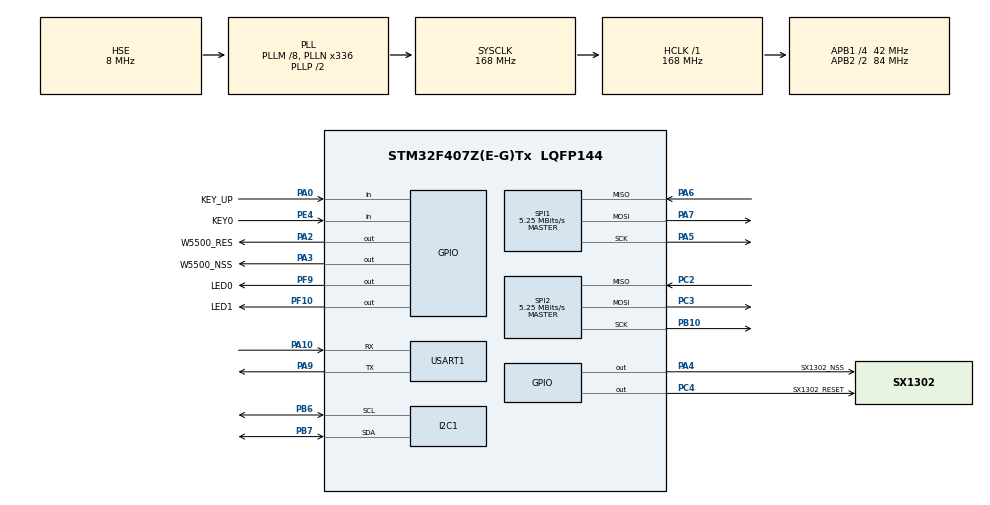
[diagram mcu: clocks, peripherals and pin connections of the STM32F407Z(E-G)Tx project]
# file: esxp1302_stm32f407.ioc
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FREERTOS.Tasks01=defaultTask,24,256,StartDefaultTask,Default,NULL,Dynamic,NULL,NULL
FREERTOS.configMINIMAL_STACK_SIZE=256
FREERTOS.configTIMER_TASK_STACK_DEPTH=256
FREERTOS.configTOTAL_HEAP_SIZE=65536
Mcu.Family=STM32F4
Mcu.Name=STM32F407Z(E-G)Tx
Mcu.Package=LQFP144
NVIC.PriorityGroup=NVIC_PRIORITYGROUP_4
NVIC.SPI2_IRQn=true\:5\:0\:false\:false\:true\:true\:true\:true\:true
NVIC.TIM6_DAC_IRQn=true\:15\:0\:false\:false\:true\:false\:false\:true\:true
NVIC.TimeBase=TIM6_DAC_IRQn
NVIC.TimeBaseIP=TIM6
PA0-WKUP.GPIO_Label=KEY_UP
PA0-WKUP.GPIO_PuPd=GPIO_PULLDOWN
PA0-WKUP.Signal=GPIO_Input
PA10.Mode=Asynchronous
PA10.Signal=USART1_RX
PA13.Mode=Serial_Wire
PA13.Signal=SYS_JTMS-SWDIO
PA14.Mode=Serial_Wire
PA14.Signal=SYS_JTCK-SWCLK
PA2.GPIO_Label=W5500_RES
PA2.PinState=GPIO_PIN_SET
PA2.Signal=GPIO_Output
PA3.GPIO_Label=W5500_NSS
PA3.GPIO_Speed=GPIO_SPEED_FREQ_HIGH
PA3.PinState=GPIO_PIN_SET
PA3.Signal=GPIO_Output
PA4.GPIO_Label=SX1302_NSS
PA4.GPIO_Speed=GPIO_SPEED_FREQ_HIGH
PA4.PinState=GPIO_PIN_SET
PA4.Signal=GPIO_Output
PA5.Mode=Full_Duplex_Master
PA5.Signal=SPI1_SCK
PA6.Mode=Full_Duplex_Master
PA6.Signal=SPI1_MISO
PA7.Mode=Full_Duplex_Master
PA7.Signal=SPI1_MOSI
PA9.Mode=Asynchronous
PA9.Signal=USART1_TX
PB10.Mode=Full_Duplex_Master
PB10.Signal=SPI2_SCK
PB6.Mode=I2C
PB6.Signal=I2C1_SCL
PB7.Mode=I2C
PB7.Signal=I2C1_SDA
PC2.Mode=Full_Duplex_Master
PC2.Signal=SPI2_MISO
PC3.Mode=Full_Duplex_Master
PC3.Signal=SPI2_MOSI
PC4.GPIO_Label=SX1302_RESET
PC4.Signal=GPIO_Output
PE4.GPIO_Label=KEY0
PE4.GPIO_PuPd=GPIO_PULLUP
PE4.Signal=GPIO_Input
PF10.GPIO_Label=LED1
PF10.PinState=GPIO_PIN_SET
PF10.Signal=GPIO_Output
PF9.GPIO_Label=LED0
PF9.PinState=GPIO_PIN_SET
PF9.Signal=GPIO_Output
PH0-OSC_IN.Mode=HSE-External-Oscillator
PH0-OSC_IN.Signal=RCC_OSC_IN
PH1-OSC_OUT.Mode=HSE-External-Oscillator
PH1-OSC_OUT.Signal=RCC_OSC_OUT
ProjectManager.HeapSize=0x200
ProjectManager.StackSize=0x400
ProjectManager.TargetToolchain=CMake
RCC.48MHZClocksFreq_Value=84000000
RCC.AHBFreq_Value=168000000
RCC.APB1CLKDivider=RCC_HCLK_DIV4
RCC.APB1Freq_Value=42000000
RCC.APB1TimFreq_Value=84000000
RCC.APB2CLKDivider=RCC_HCLK_DIV2
RCC.APB2Freq_Value=84000000
RCC.APB2TimFreq_Value=168000000
RCC.CortexFreq_Value=168000000
RCC.HCLKFreq_Value=168000000
RCC.HSE_VALUE=8000000
RCC.HSI_VALUE=16000000
RCC.LSE_VALUE=32768
RCC.PLLM=8
RCC.PLLN=336
RCC.PLLSourceVirtual=RCC_PLLSOURCE_HSE
RCC.SYSCLKFreq_VALUE=168000000
RCC.SYSCLKSource=RCC_SYSCLKSOURCE_PLLCLK
RCC.VCOOutputFreq_Value=336000000
SPI1.BaudRatePrescaler=SPI_BAUDRATEPRESCALER_16
SPI1.CalculateBaudRate=5.25 MBits/s
SPI1.Direction=SPI_DIRECTION_2LINES
SPI1.Mode=SPI_MODE_MASTER
SPI1.VirtualType=VM_MASTER
SPI2.BaudRatePrescaler=SPI_BAUDRATEPRESCALER_8
SPI2.CalculateBaudRate=5.25 MBits/s
SPI2.Direction=SPI_DIRECTION_2LINES
SPI2.Mode=SPI_MODE_MASTER
SPI2.VirtualType=VM_MASTER
TIM2.AutoReloadPreload=TIM_AUTORELOAD_PRELOAD_ENABLE
TIM2.Period=0xFFFFFFFF
TIM2.Prescaler=83
USART1.VirtualMode=VM_ASYNC
VP_FREERTOS_VS_CMSIS_V2.Mode=CMSIS_V2
VP_SYS_VS_tim6.Mode=TIM6
VP_TIM2_VS_ClockSourceINT.Mode=Internal
board=custom

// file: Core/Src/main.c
/* USER CODE BEGIN Header */
/**
  ******************************************************************************
  * @file           : main.c
  * @brief          : Main program body
  ******************************************************************************
  * @attention
  *
  * <h2><center>&copy; Copyright (c) 2026 STMicroelectronics.
  * All rights reserved.</center></h2>
  *
  * This software component is licensed by ST under Ultimate Liberty license
  * SLA0044, the "License"; You may not use this file except in compliance with
  * the License. You may obtain a copy of the License at:
  *                             www.st.com/SLA0044
  *
  ******************************************************************************
  */
/* USER CODE END Header */
#include "main.h"
#include "cmsis_os.h"
#include "i2c.h"
#include "spi.h"
#include "tim.h"
#include "usart.h"
#include "gpio.h"

/* USER CODE BEGIN Includes */
#include <string.h>
/* USER CODE END Includes */

/* USER CODE BEGIN PV */
/* Linker-script symbols for CCMRAM section (defined in STM32F407ZGTx_FLASH.ld) */
extern uint32_t _sccmram;
extern uint32_t _eccmram;
/* USER CODE END PV */

void SystemClock_Config(void);
void MX_FREERTOS_Init(void);

int main(void)
{
  /* USER CODE BEGIN 1 */
  /* Zero-fill CCMRAM (.ccmram section) before any C code runs.
   * The startup file only clears .bss (SRAM); CCMRAM must be cleared
   * explicitly. Placed here so it survives CubeMX code regeneration. */
  {
    uint32_t *p = &_sccmram;
    while (p < &_eccmram) { *p++ = 0; }
  }
  /* USER CODE END 1 */

  /* MCU Configuration--------------------------------------------------------*/

  /* Reset of all peripherals, Initializes the Flash interface and the Systick. */
  HAL_Init();

  /* Configure the system clock */
  SystemClock_Config();

  /* Initialize all configured peripherals */
  MX_GPIO_Init();
  MX_TIM2_Init();
  MX_USART1_UART_Init();
  MX_SPI2_Init();
  MX_I2C1_Init();
  MX_SPI1_Init();
  /* USER CODE BEGIN 2 */
  /* 启动 TIM2 微秒定时器 */
  HAL_TIM_Base_Start(&htim2);

  /* 发送启动信息 */
  const char *msg = "ESXP1302 on STM32F407 - SPI Test Ready\r\n";
  HAL_UART_Transmit(&huart1, (uint8_t *)msg, strlen(msg), 100);
  /* USER CODE END 2 */

  /* Init scheduler */
  osKernelInitialize();  /* Call init function for freertos objects (in freertos.c) */
  MX_FREERTOS_Init();
  /* Start scheduler */
  osKernelStart();

  /* We should never get here as control is now taken by the scheduler */
  /* Infinite loop */
  /* USER CODE BEGIN WHILE */
  while (1)
  {
    HAL_GPIO_TogglePin(LED0_GPIO_Port, LED0_Pin);
    HAL_Delay(500);
    /* USER CODE END WHILE */

  }
}

void SystemClock_Config(void)
{
  RCC_OscInitTypeDef RCC_OscInitStruct = {0};
  RCC_ClkInitTypeDef RCC_ClkInitStruct = {0};

  /** Configure the main internal regulator output voltage
  */
  __HAL_RCC_PWR_CLK_ENABLE();
  __HAL_PWR_VOLTAGESCALING_CONFIG(PWR_REGULATOR_VOLTAGE_SCALE1);
  /** Initializes the RCC Oscillators according to the specified parameters
  * in the RCC_OscInitTypeDef structure.
  */
  RCC_OscInitStruct.OscillatorType = RCC_OSCILLATORTYPE_HSE;
  RCC_OscInitStruct.HSEState = RCC_HSE_ON;
  RCC_OscInitStruct.PLL.PLLState = RCC_PLL_ON;
  RCC_OscInitStruct.PLL.PLLSource = RCC_PLLSOURCE_HSE;
  RCC_OscInitStruct.PLL.PLLM = 8;
  RCC_OscInitStruct.PLL.PLLN = 336;
  RCC_OscInitStruct.PLL.PLLP = RCC_PLLP_DIV2;
  RCC_OscInitStruct.PLL.PLLQ = 4;
  if (HAL_RCC_OscConfig(&RCC_OscInitStruct) != HAL_OK)
  {
    Error_Handler();
  }
  /** Initializes the CPU, AHB and APB buses clocks
  */
  RCC_ClkInitStruct.ClockType = RCC_CLOCKTYPE_HCLK|RCC_CLOCKTYPE_SYSCLK
                              |RCC_CLOCKTYPE_PCLK1|RCC_CLOCKTYPE_PCLK2;
  RCC_ClkInitStruct.SYSCLKSource = RCC_SYSCLKSOURCE_PLLCLK;
  RCC_ClkInitStruct.AHBCLKDivider = RCC_SYSCLK_DIV1;
  RCC_ClkInitStruct.APB1CLKDivider = RCC_HCLK_DIV4;
  RCC_ClkInitStruct.APB2CLKDivider = RCC_HCLK_DIV2;

  if (HAL_RCC_ClockConfig(&RCC_ClkInitStruct, FLASH_LATENCY_5) != HAL_OK)
  {
    Error_Handler();
  }
}

/* USER CODE BEGIN 4 */

/**
 * @brief  Retarget printf to UART1.
 *         Auto-inserts '\r' before every '\n' (LF -> CR+LF) so that
 *         serial terminals display correctly without special settings.
 *         Thread-safety is provided by mx_printf mutex in _write().
 */
int __io_putchar(int ch)
{
    if (ch == '\n') {
        uint8_t cr = '\r';
        HAL_UART_Transmit(&huart1, &cr, 1, HAL_MAX_DELAY);
    }
    HAL_UART_Transmit(&huart1, (uint8_t *)&ch, 1, HAL_MAX_DELAY);
    return ch;
}

/* USER CODE END 4 */

void HAL_TIM_PeriodElapsedCallback(TIM_HandleTypeDef *htim)
{
  if (htim->Instance == TIM6) {
    HAL_IncTick();
  }
}

void Error_Handler(void)
{
  /* USER CODE BEGIN Error_Handler_Debug */
  /* Rapid-blink both LEDs to signal a fatal error (visible without serial).
     Uses GPIO toggle since SysTick is dead after __disable_irq. */
  __disable_irq();
  while (1)
  {
    HAL_GPIO_TogglePin(LED0_GPIO_Port, LED0_Pin);
    HAL_GPIO_TogglePin(LED1_GPIO_Port, LED1_Pin);
    for (volatile uint32_t i = 0; i < 2000000; i++) { __NOP(); }
  }
  /* USER CODE END Error_Handler_Debug */
}

/************************ (C) COPYRIGHT STMicroelectronics *****END OF FILE****/

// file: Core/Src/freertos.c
/* USER CODE BEGIN Header */
/**
  ******************************************************************************
  * File Name          : freertos.c
  * Description        : Code for freertos applications
  ******************************************************************************
  * @attention
  *
  * <h2><center>&copy; Copyright (c) 2026 STMicroelectronics.
  * All rights reserved.</center></h2>
  *
  * This software component is licensed by ST under Ultimate Liberty license
  * SLA0044, the "License"; You may not use this file except in compliance with
  * the License. You may obtain a copy of the License at:
  *                             www.st.com/SLA0044
  *
  ******************************************************************************
  */
/* USER CODE END Header */

#include "FreeRTOS.h"
#include "task.h"
#include "main.h"
#include "cmsis_os.h"

/* USER CODE BEGIN Includes */
#include "test_loragw.h"
/* USER CODE END Includes */

/* Definitions for defaultTask */
osThreadId_t defaultTaskHandle;
const osThreadAttr_t defaultTask_attributes = {
  .name = "defaultTask",
  .stack_size = 256 * 4,
  .priority = (osPriority_t) osPriorityNormal,
};

/* USER CODE BEGIN FunctionPrototypes */
void StartTestTask(void *argument);
/* USER CODE END FunctionPrototypes */

void StartDefaultTask(void *argument);

void MX_FREERTOS_Init(void); /* (MISRA C 2004 rule 8.1) */

void MX_FREERTOS_Init(void) {

  /* Create the thread(s) */
  /* creation of defaultTask */
  defaultTaskHandle = osThreadNew(StartDefaultTask, NULL, &defaultTask_attributes);

  /* USER CODE BEGIN RTOS_THREADS */
  /* LoRaGW test task �? needs a large stack for SPI buffers */
  static const osThreadAttr_t testTask_attributes = {
      .name = "testTask",
      .stack_size = 1024 * 8,
      .priority = (osPriority_t) osPriorityNormal,
  };
  osThreadNew(StartTestTask, NULL, &testTask_attributes);
  /* USER CODE END RTOS_THREADS */

}

void StartDefaultTask(void *argument)
{
  /* USER CODE BEGIN StartDefaultTask */
  /* Infinite loop */
  for(;;)
  {
    HAL_GPIO_TogglePin(LED0_GPIO_Port, LED0_Pin);
    osDelay(500);
  }
  /* USER CODE END StartDefaultTask */
}

/* USER CODE BEGIN Application */
void StartTestTask(void *argument)
{
    (void)argument;
    /* Small delay to let the system settle */
    osDelay(1000);
    /* Run the selected test */
    test_loragw_run();
}
/* USER CODE END Application */

/************************ (C) COPYRIGHT STMicroelectronics *****END OF FILE****/
